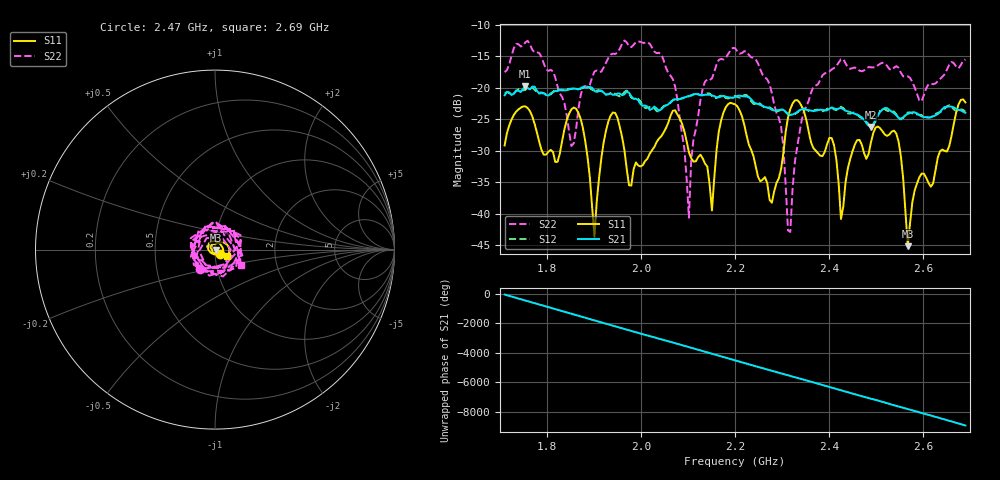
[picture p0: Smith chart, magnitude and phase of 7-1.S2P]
!Agilent Technologies,E5061B,MY49305579,A.02.22
!Date: Thu Aug 24 16:24:50 2017
!Data & Calibration Information:
!Freq	S11:SOLT2(ON)	S21:SOLT2(ON)	S12:SOLT2(ON)	S22:SOLT2(ON)
# Hz S dB R 50
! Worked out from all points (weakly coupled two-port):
!   201 points, 1.71 GHz to 2.69 GHz, reference 50 ohm
!   highest |S21| = -19.75 dB at 1.754 GHz (marker M1); lowest = -26.2 dB at 2.489 GHz (marker M2)
!   lowest |S11| = -45.1 dB at 2.567 GHz (marker M3), VSWR 1.01, Z = 50.5 - j0.18 ohm
!   |S11| at or under -10 dB: start of sweep to end of sweep
!   |S22| runs from -42.9 to -12.5 dB; largest |S21 - S12| = 0.0073
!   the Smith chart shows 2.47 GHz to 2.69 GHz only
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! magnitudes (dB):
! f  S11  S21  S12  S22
! 1.71 GHz  -29.2  -21.2  -20.9  -17.5
! 1.754 GHz  -23.0  -19.8  -20.4  -12.8
! 1.818 GHz  -31.8  -20.5  -20.3  -18.4
! 1.852 GHz  -23.4  -20.2  -20.2  -29.2
! 1.877 GHz  -26.4  -19.9  -20.0  -19.9
! 1.901 GHz  -43.7  -20.5  -20.6  -17.4
! 1.935 GHz  -24.4  -20.9  -20.8  -14.8
! 1.975 GHz  -35.5  -20.8  -21.0  -13.5
! 2.038 GHz  -28.1  -23.6  -23.8  -14.5
! 2.073 GHz  -23.6  -21.8  -21.8  -19.8
! 2.102 GHz  -30.2  -21.3  -21.4  -40.6
! 2.151 GHz  -39.5  -21.2  -21.3  -18.5
! 2.2 GHz  -22.6  -21.5  -21.3  -13.7
! 2.278 GHz  -38.2  -23.5  -23.3  -20.9
! 2.318 GHz  -23.4  -24.3  -24.3  -42.9
! 2.367 GHz  -29.6  -23.7  -23.7  -19.9
! 2.406 GHz  -28.0  -23.1  -23.2  -17.1
! 2.425 GHz  -40.8  -23.2  -23.0  -15.5
! 2.489 GHz  -28.7  -26.2  -26.1  -16.8
! 2.528 GHz  -27.4  -23.5  -23.7  -17.1
! 2.567 GHz  -45.1  -24.2  -23.9  -18.2
! 2.69 GHz  -22.3  -24.0  -23.8  -15.5
